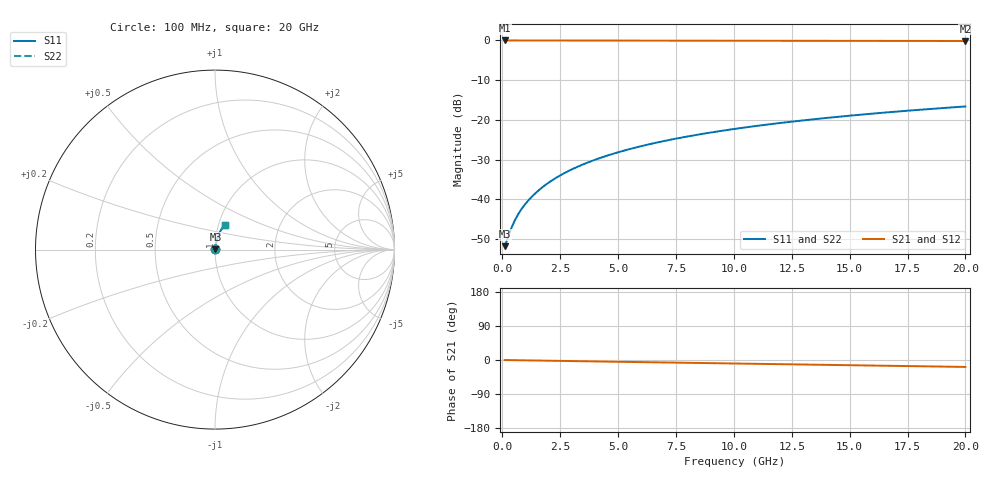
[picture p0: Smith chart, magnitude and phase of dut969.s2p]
! Touchstone file exported from HFSS 2026.1.0
!  File:  C:/ffzhzh/LocalFiles/Ansys_Project_Files/temp_train_TMRDL_969_1783159011_51560.aedt
!  Generated:  05:58:04 PM Jul  4, 2026
!  Design:  TMRDL
!  Project:  temp_train_TMRDL_969_1783159011_51560
! Variables:
!  h_bsmrdl = 2um
!  h_ox = 20um
!  h_rdl = 5um
!  h_sub = 80um
!  h_tmrdl = 2.53um
!  h_tsv = 80um
!  h_via = 3um
!  l_bsmrdl = 300um
!  l_sub = 669.36um
!  l_tmrdl = 269.36um
!  m_sub = 200um
!  pitch = 29.93um
!  r_tsv = 6um
!  s_tmrdl = 10um
!  w_bsmrdl = 18um
!  w_sub = 500um
!  w_tmrdl = 17.58um
!  x_tsv_center1 = 278.15um
!  x_tsv_center2 = 596.15um
!  x_tsv_center3 = 883.09um
!  x_tsv_center4 = 1201.09um
!  x_tsv_center5 = 1488.03um
!  x_tsv_center6 = 1806.03um
# GHz S MA R 50.000000
! Terminal data exported
! Port[1] = TM_RDL1_1_T1
! Port[2] = TM_RDL1_1_T2
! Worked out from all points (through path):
!   200 points, 100 MHz to 20 GHz, reference 50 ohm
!   highest |S21| = -0.02 dB at 100 MHz (marker M1); lowest = -0.2 dB at 20 GHz (marker M2)
!   group delay of S21, straight-line fit = 2.54 ps
!   lowest |S11| = -51.7 dB at 100 MHz (marker M3), VSWR 1.01, Z = 50.2 + j0.0918 ohm
!   |S11| at or under -10 dB: start of sweep to end of sweep
!   |S22| runs from -51.7 to -16.6 dB; largest |S21 - S12| = 5.8e-15
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0.1  0.002588 20.7  0.9976 -0.1  0.9976 -0.1  0.002588 20.7
! Gamma 0 0 0 0
! Port Impedance 50 0 50 0
0.4  0.004417 52.9  0.9973 -0.4  0.9973 -0.4  0.004417 53.0
0.5  0.005146 57.5  0.9973 -0.5  0.9973 -0.5  0.005146 57.6
0.6  0.00588 60.9  0.9972 -0.6  0.9972 -0.6  0.005881 60.9
0.7  0.006614 63.5  0.9971 -0.7  0.9971 -0.7  0.006615 63.5
0.9  0.00808 67.4  0.997 -0.9  0.997 -0.9  0.008082 67.4
1.2  0.01029 71.2  0.9968 -1.1  0.9968 -1.1  0.01029 71.2
1.4  0.01177 73.0  0.9968 -1.3  0.9968 -1.3  0.01177 73.0
1.7  0.01401 75.0  0.9967 -1.6  0.9967 -1.6  0.01401 75.0
2.2  0.01778 77.1  0.9965 -2.1  0.9965 -2.1  0.01778 77.1
2.8  0.02235 78.5  0.9963 -2.6  0.9963 -2.6  0.02235 78.5
3.5  0.0277 79.4  0.9961 -3.3  0.9961 -3.3  0.0277 79.4
4.2  0.03306 79.7  0.9958 -3.9  0.9958 -3.9  0.03306 79.7
5  0.03919 79.7  0.9954 -4.7  0.9954 -4.7  0.03919 79.7
5.9  0.04605 79.5  0.9949 -5.5  0.9949 -5.5  0.04605 79.5
6.8  0.05289 79.1  0.9944 -6.3  0.9944 -6.3  0.05289 79.1
8.3  0.06419 78.2  0.9933 -7.7  0.9933 -7.7  0.06419 78.1
10.1  0.07758 76.9  0.9919 -9.4  0.9919 -9.4  0.07758 76.8
11.7  0.08932 75.6  0.9904 -10.8  0.9904 -10.8  0.08932 75.6
13.4  0.1016 74.2  0.9888 -12.4  0.9888 -12.4  0.1016 74.2
16.7  0.125 71.5  0.9853 -15.3  0.9853 -15.3  0.125 71.5
20  0.1477 68.8  0.9814 -18.3  0.9814 -18.3  0.1477 68.7
